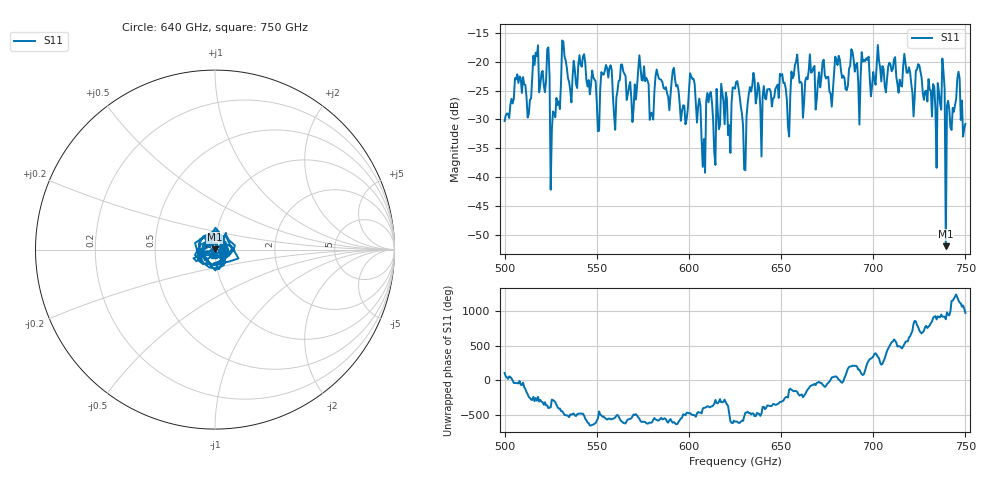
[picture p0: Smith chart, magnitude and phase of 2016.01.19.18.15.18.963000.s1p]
!Created with skrf (http://scikit-rf.org).
# GHz S RI R 50.0
!freq ReS11 ImS11
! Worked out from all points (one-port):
!   401 points, 500 GHz to 750 GHz, reference 50 ohm
!   lowest |S11| = -52.0 dB at 739.4 GHz (marker M1), VSWR 1.01, Z = 49.8 + j0.0761 ohm
!   |S11| at or under -10 dB: start of sweep to end of sweep
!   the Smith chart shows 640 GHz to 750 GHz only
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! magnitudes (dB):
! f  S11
! 500 GHz  -30.3
! 506.9 GHz  -22.2
! 513.1 GHz  -29.1
! 516.9 GHz  -18.4
! 523.1 GHz  -17.8
! 526.2 GHz  -28.6
! 531.2 GHz  -16.3
! 541.9 GHz  -20.9
! 550.6 GHz  -32.0
! 562.5 GHz  -23.2
! 593.8 GHz  -24.0
! 598.1 GHz  -30.8
! 601.9 GHz  -23.0
! 607.5 GHz  -38.2
! 610.6 GHz  -27.0
! 615 GHz  -24.7
! 625 GHz  -24.7
! 630 GHz  -38.7
! 634.4 GHz  -24.1
! 653.8 GHz  -31.2
! 656.2 GHz  -22.9
! 687.5 GHz  -20.7
! 718.8 GHz  -21.9
! 733.1 GHz  -24.4
! 737.5 GHz  -19.4
! 739.4 GHz  -52.0
! 745.6 GHz  -23.0
! 750 GHz  -30.8
